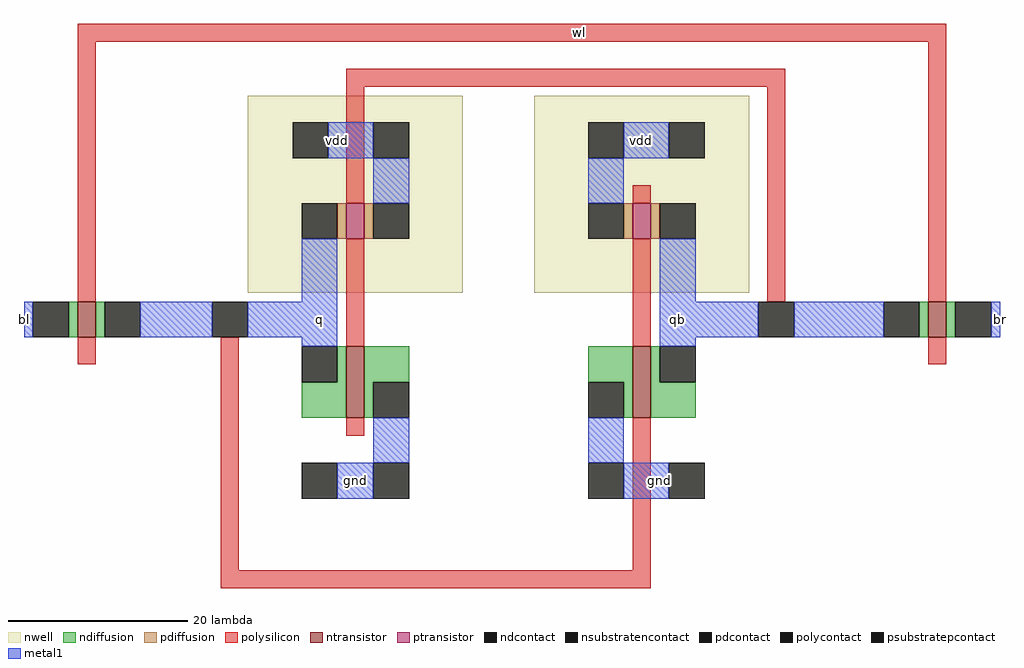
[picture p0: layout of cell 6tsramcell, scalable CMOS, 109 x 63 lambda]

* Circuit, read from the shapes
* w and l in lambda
.subckt 6tsramcell bl br gnd q qb vdd wl
M1 q wl bl gnd nfet w=4 l=2
M2 gnd qb q gnd nfet w=8 l=2
M3 qb q gnd gnd nfet w=8 l=2
M4 br wl qb gnd nfet w=4 l=2
M5 vdd qb q vdd pfet w=4 l=2
M6 qb q vdd vdd pfet w=4 l=2
.ends

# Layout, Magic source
magic
tech scmos
<< nwell >>
rect -7 -2 17 20
rect 25 -2 49 20
<< ntransistor >>
rect -26 -7 -24 -3
rect 69 -7 71 -3
rect 4 -16 6 -8
rect 36 -16 38 -8
<< ptransistor >>
rect 4 4 6 8
rect 36 4 38 8
<< ndiffusion >>
rect -27 -7 -26 -3
rect -24 -7 -23 -3
rect 68 -7 69 -3
rect 71 -7 72 -3
rect 3 -12 4 -8
rect -1 -16 4 -12
rect 6 -12 11 -8
rect 6 -16 7 -12
rect 31 -12 36 -8
rect 35 -16 36 -12
rect 38 -12 39 -8
rect 38 -16 43 -12
<< pdiffusion >>
rect 3 4 4 8
rect 6 4 7 8
rect 35 4 36 8
rect 38 4 39 8
<< ndcontact >>
rect -31 -7 -27 -3
rect -23 -7 -19 -3
rect 64 -7 68 -3
rect 72 -7 76 -3
rect -1 -12 3 -8
rect 7 -16 11 -12
rect 31 -16 35 -12
rect 39 -12 43 -8
<< pdcontact >>
rect -1 4 3 8
rect 7 4 11 8
rect 31 4 35 8
rect 39 4 43 8
<< psubstratepcontact >>
rect -1 -25 3 -21
rect 7 -25 11 -21
rect 31 -25 35 -21
rect 40 -25 44 -21
<< nsubstratencontact >>
rect -2 13 2 17
rect 7 13 11 17
rect 31 13 35 17
rect 40 13 44 17
<< polysilicon >>
rect -26 26 71 28
rect -26 -3 -24 26
rect 4 21 53 23
rect 4 8 6 21
rect 36 8 38 10
rect -26 -10 -24 -7
rect -10 -33 -8 -7
rect 4 -8 6 4
rect 36 -8 38 4
rect 51 -3 53 21
rect 69 -3 71 26
rect 69 -10 71 -7
rect 4 -18 6 -16
rect 36 -33 38 -16
rect -10 -35 38 -33
<< polycontact >>
rect -11 -7 -7 -3
rect 50 -7 54 -3
<< metal1 >>
rect 2 13 7 17
rect 7 8 11 13
rect 35 13 40 17
rect 31 8 35 13
rect -1 -3 3 4
rect -32 -7 -31 -3
rect -19 -7 -11 -3
rect -7 -7 3 -3
rect -1 -8 3 -7
rect 39 -3 43 4
rect 39 -7 50 -3
rect 54 -7 64 -3
rect 76 -7 77 -3
rect 39 -8 43 -7
rect 7 -21 11 -16
rect 3 -25 7 -21
rect 31 -21 35 -16
rect 35 -25 40 -21
<< labels >>
rlabel metal1 1 -5 1 -5 1 q
rlabel metal1 41 -5 41 -5 1 qb
rlabel metal1 77 -7 77 -3 7 br
rlabel metal1 -32 -7 -32 -3 3 bl
rlabel metal1 5 -23 5 -23 1 gnd
rlabel polysilicon 30 27 30 27 5 wl
rlabel metal1 3 15 3 15 1 vdd
rlabel metal1 37 15 37 15 1 vdd
rlabel metal1 39 -23 39 -23 1 gnd
<< end >>
